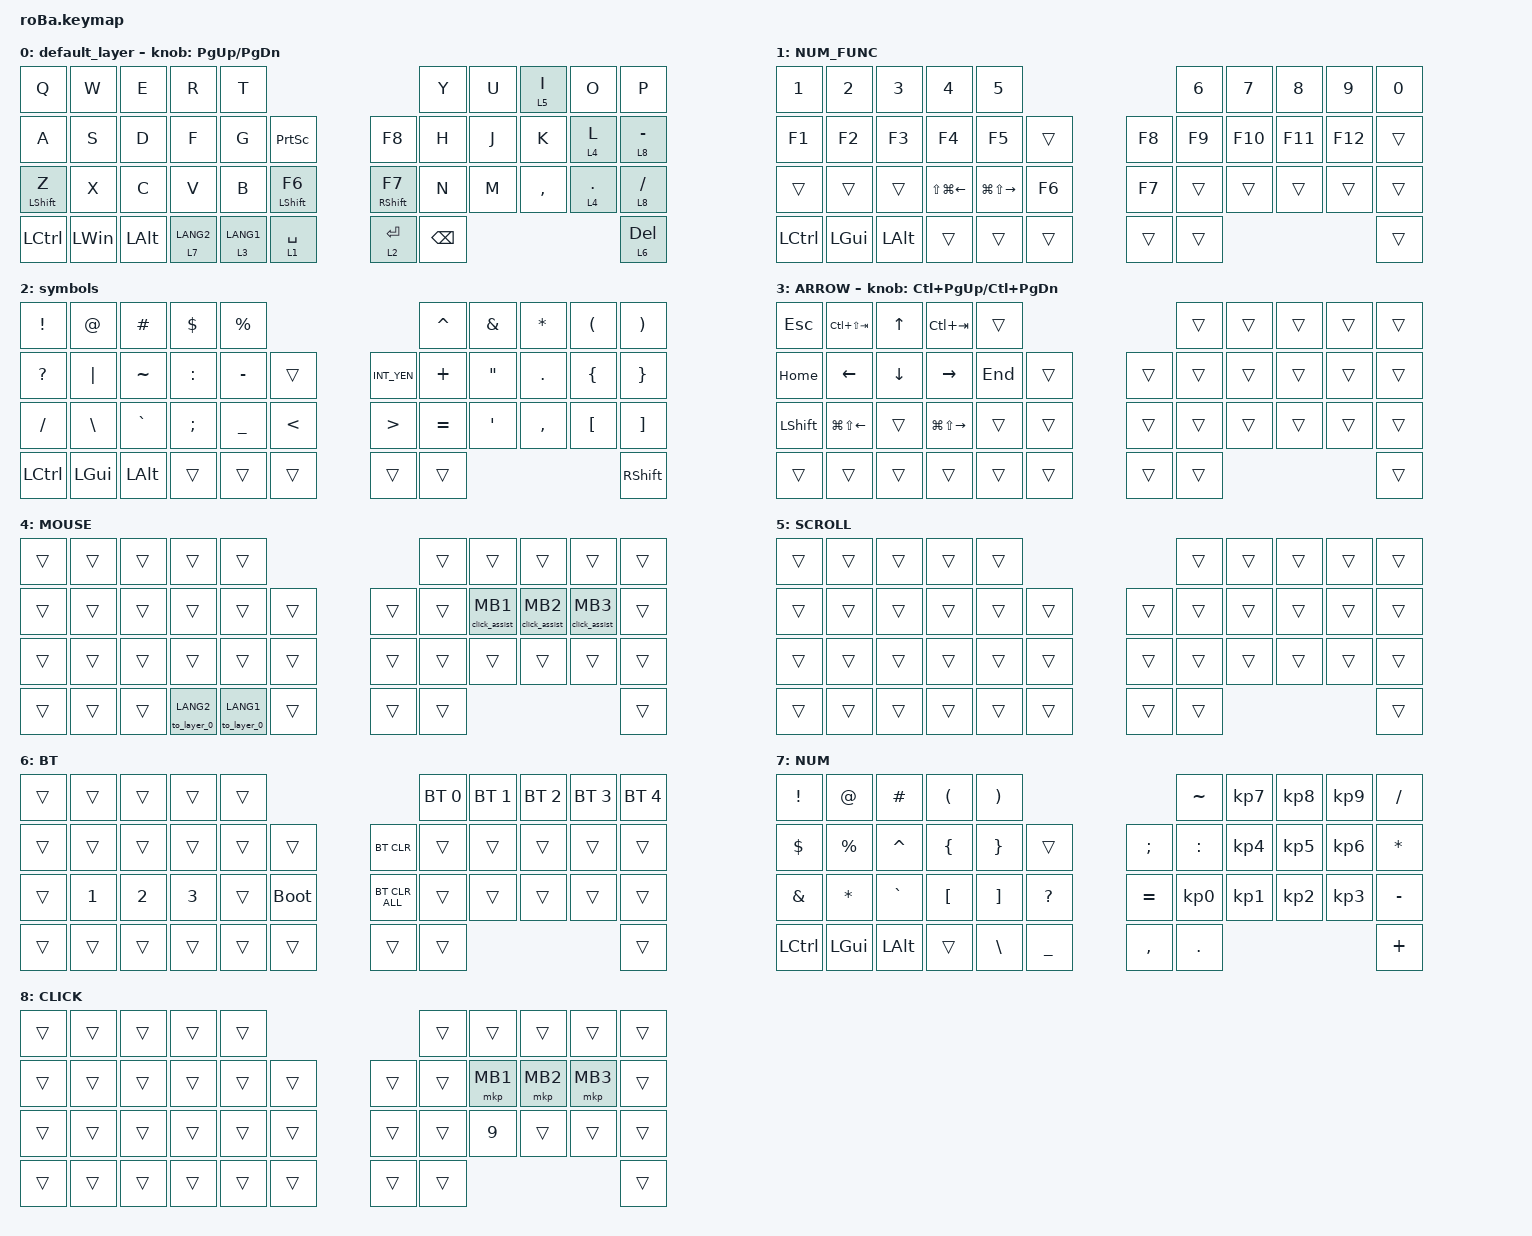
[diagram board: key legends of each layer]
#include <behaviors.dtsi>
#include <dt-bindings/zmk/bt.h>
#include <dt-bindings/zmk/keys.h>
#include <dt-bindings/zmk/pointing.h>

&mt {
    flavor = "balanced";
    quick-tap-ms = <0>;
};

&trackball {
    automouse-layer = <4>;
    scroll-layers = <5>;

    arrows {
        layers = <3>;
        bindings =
            <&kp RIGHT_ARROW>,
            <&kp LEFT_ARROW>,
            <&kp UP_ARROW>,
            <&kp DOWN_ARROW>;

        tick = <10>;
        wait-ms = <5>;
        tap-ms = <5>;
    };
};

/ {
    combos {
        compatible = "zmk,combos";

        tab {
            bindings = <&kp TAB>;
            key-positions = <2 1>;
        };

        shift_tab {
            bindings = <&kp LS(TAB)>;
            key-positions = <3 4>;
        };

        escape {
            bindings = <&to_layer_0 ESCAPE>;
            key-positions = <0 1>;
        };
    };

    macros {
        to_layer_0: to_layer_0 {
            compatible = "zmk,behavior-macro-one-param";
            #binding-cells = <1>;
            bindings = <&to 0 &macro_param_1to1 &kp MACRO_PLACEHOLDER>;
            label = "TO_LAYER_0";
        };

        click_assist: click_assist {
            compatible = "zmk,behavior-macro-one-param";
            #binding-cells = <1>;
            bindings =
                <&macro_tap>,
                <&sl_ms 8>,
                <&macro_press>,
                <&macro_param_1to1 &mkp MACRO_PLACEHOLDER>,
                <&macro_pause_for_release>,
                <&macro_release>,
                <&macro_param_1to1 &mkp MACRO_PLACEHOLDER>;

            label = "CLICK_ASSIST";
        };
    };

    behaviors {
        lt_to_layer_0: lt_to_layer_0 {
            compatible = "zmk,behavior-hold-tap";
            label = "LAYER_TAP_TO_0";
            bindings = <&mo>, <&to_layer_0>;

            #binding-cells = <2>;
            tapping-term-ms = <200>;
        };

        sl_ms: sl_ms {
            compatible = "zmk,behavior-sticky-key";
            label = "SL_MS";
            bindings = <&mo>;
            #binding-cells = <1>;
            release-after-ms = <500>;
        };
    };

    keymap {
        compatible = "zmk,keymap";

        default_layer {
            bindings = <
&kp Q             &kp W         &kp E         &kp R                   &kp T                                                        &kp Y          &kp U  &lt 5 I    &kp O         &kp P
&kp A             &kp S         &kp D         &kp F                   &kp G        &kp PRINTSCREEN             &kp F8              &kp H          &kp J  &kp K      &lt 4 L       &lt 8 MINUS
&mt LEFT_SHIFT Z  &kp X         &kp C         &kp V                   &kp B        &mt LEFT_SHIFT F6           &mt RIGHT_SHIFT F7  &kp N          &kp M  &kp COMMA  &lt 4 PERIOD  &lt 8 SLASH
&kp LCTRL         &kp LEFT_WIN  &kp LEFT_ALT  &lt_to_layer_0 7 LANG2  &lt 3 LANG1  &lt_to_layer_0 1 SPACE      &lt 2 ENTER         &kp BACKSPACE                                  &lt 6 DELETE
            >;

            sensor-bindings = <&inc_dec_kp PG_UP PAGE_DOWN>;
        };

        NUM_FUNC {
            bindings = <
&kp N1     &kp N2    &kp N3    &kp N4                  &kp N5                                       &kp N6  &kp N7   &kp N8   &kp N9   &kp N0
&kp F1     &kp F2    &kp F3    &kp F4                  &kp F5                   &trans      &kp F8  &kp F9  &kp F10  &kp F11  &kp F12  &trans
&trans     &trans    &trans    &kp LS(LG(LEFT_ARROW))  &kp LG(LS(RIGHT_ARROW))  &kp F6      &kp F7  &trans  &trans   &trans   &trans   &trans
&kp LCTRL  &kp LGUI  &kp LALT  &trans                  &trans                   &trans      &trans  &trans                             &trans
            >;
        };

        symbols {
            bindings = <
&kp EXCLAMATION  &kp AT_SIGN  &kp HASH   &kp DOLLAR  &kp PERCENT                                          &kp CARET  &kp AMPERSAND      &kp ASTERISK  &kp LEFT_PARENTHESIS  &kp RIGHT_PARENTHESIS
&kp QUESTION     &kp PIPE     &kp TILDE  &kp COLON   &kp MINUS       &trans             &kp INT_YEN       &kp PLUS   &kp DOUBLE_QUOTES  &kp PERIOD    &kp LEFT_BRACE        &kp RIGHT_BRACE
&kp FSLH         &kp BSLH     &kp GRAVE  &kp SEMI    &kp UNDERSCORE  &kp LESS_THAN      &kp GREATER_THAN  &kp EQUAL  &kp SQT            &kp COMMA     &kp LBKT              &kp RBKT
&kp LCTRL        &kp LGUI     &kp LALT   &trans      &trans          &trans             &trans            &trans                                                            &kp RIGHT_SHIFT
            >;
        };

        ARROW {
            bindings = <
&kp ESCAPE      &kp LC(LS(TAB))         &kp UP_ARROW    &kp LC(TAB)              &trans                       &trans  &trans  &trans  &trans  &trans
&kp HOME        &kp LEFT_ARROW          &kp DOWN_ARROW  &kp RIGHT_ARROW          &kp END  &trans      &trans  &trans  &trans  &trans  &trans  &trans
&kp LEFT_SHIFT  &kp LG(LS(LEFT_ARROW))  &trans          &kp LG(LS(RIGHT_ARROW))  &trans   &trans      &trans  &trans  &trans  &trans  &trans  &trans
&trans          &trans                  &trans          &trans                   &trans   &trans      &trans  &trans                          &trans
            >;

            sensor-bindings = <&inc_dec_kp LC(PAGE_UP) LC(PAGE_DOWN)>;
        };

        MOUSE {
            bindings = <
&trans  &trans  &trans  &trans             &trans                                 &trans  &trans             &trans             &trans             &trans
&trans  &trans  &trans  &trans             &trans             &trans      &trans  &trans  &click_assist MB1  &click_assist MB2  &click_assist MB3  &trans
&trans  &trans  &trans  &trans             &trans             &trans      &trans  &trans  &trans             &trans             &trans             &trans
&trans  &trans  &trans  &to_layer_0 LANG2  &to_layer_0 LANG1  &trans      &trans  &trans                                                           &trans
            >;
        };

        SCROLL {
            bindings = <
&trans  &trans  &trans  &trans  &trans                      &trans  &trans  &trans  &trans  &trans
&trans  &trans  &trans  &trans  &trans  &trans      &trans  &trans  &trans  &trans  &trans  &trans
&trans  &trans  &trans  &trans  &trans  &trans      &trans  &trans  &trans  &trans  &trans  &trans
&trans  &trans  &trans  &trans  &trans  &trans      &trans  &trans                          &trans
            >;
        };

        BT {
            bindings = <
&trans  &trans        &trans        &trans        &trans                                   &bt BT_SEL 0  &bt BT_SEL 1  &bt BT_SEL 2  &bt BT_SEL 3  &bt BT_SEL 4
&trans  &trans        &trans        &trans        &trans  &trans           &bt BT_CLR      &trans        &trans        &trans        &trans        &trans
&trans  &kp NUMBER_1  &kp NUMBER_2  &kp NUMBER_3  &trans  &bootloader      &bt BT_CLR_ALL  &trans        &trans        &trans        &trans        &trans
&trans  &trans        &trans        &trans        &trans  &trans           &trans          &trans                                                  &trans
            >;
        };

        NUM {
            bindings = <
&kp EXCLAMATION  &kp AT_SIGN   &kp HASH   &kp LEFT_PARENTHESIS  &kp RIGHT_PARENTHESIS                                 &kp TILDE        &kp KP_NUMBER_7  &kp KP_NUMBER_8  &kp KP_NUMBER_9  &kp SLASH
&kp DOLLAR       &kp PERCENT   &kp CARET  &kp LEFT_BRACE        &kp RIGHT_BRACE        &trans              &kp SEMI   &kp COLON        &kp KP_NUMBER_4  &kp KP_NUMBER_5  &kp KP_NUMBER_6  &kp ASTERISK
&kp AMPERSAND    &kp ASTERISK  &kp GRAVE  &kp LEFT_BRACKET      &kp RIGHT_BRACKET      &kp QUESTION        &kp EQUAL  &kp KP_NUMBER_0  &kp KP_NUMBER_1  &kp KP_NUMBER_2  &kp KP_NUMBER_3  &kp MINUS
&kp LCTRL        &kp LGUI      &kp LALT   &trans                &kp BACKSLASH          &kp UNDERSCORE      &kp COMMA  &kp PERIOD                                                          &kp PLUS
            >;
        };

        CLICK {
            bindings = <
&trans  &trans  &trans  &trans  &trans                      &trans  &trans        &trans    &trans    &trans
&trans  &trans  &trans  &trans  &trans  &trans      &trans  &trans  &mkp MB1      &mkp MB2  &mkp MB3  &trans
&trans  &trans  &trans  &trans  &trans  &trans      &trans  &trans  &kp NUMBER_9  &trans    &trans    &trans
&trans  &trans  &trans  &trans  &trans  &trans      &trans  &trans                                    &trans
            >;
        };
    };
};
